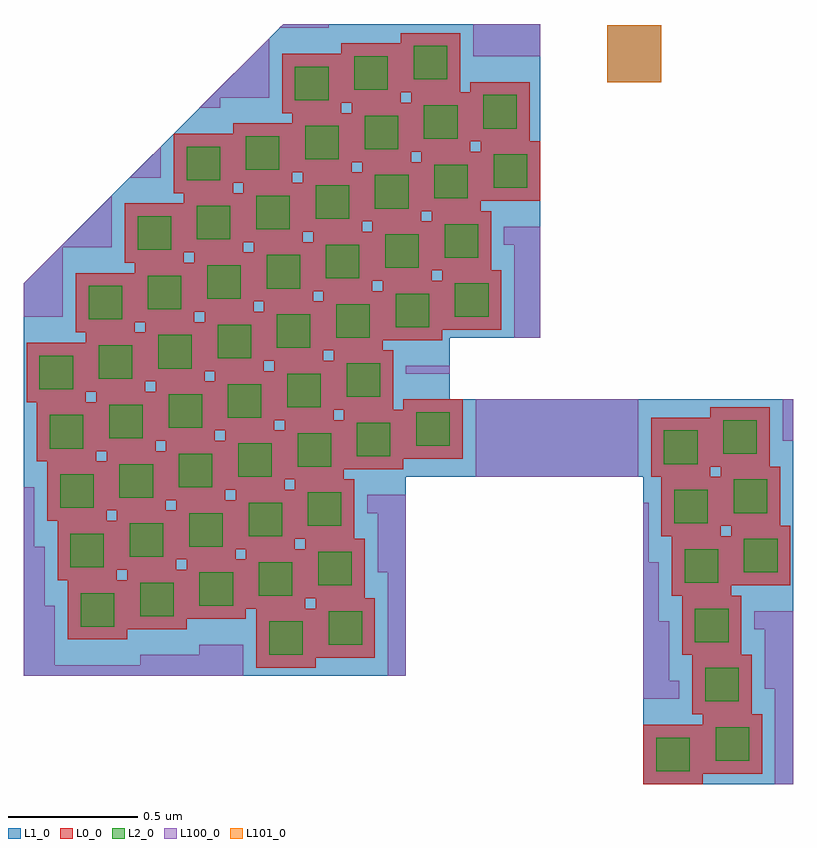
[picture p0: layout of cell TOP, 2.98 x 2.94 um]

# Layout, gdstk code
import gdstk
lib = gdstk.Library(unit=1e-6, precision=1e-09)
def R(c, l, rs):  # rectangles x0, y0, x1, y1
    for r in rs: c.add(gdstk.rectangle(r[:2], r[2:], *l))
def P(c, l, *ps):  # polygons
    for p in ps: c.add(gdstk.Polygon(p, *l))
L0_0 = (0, 0)
L1_0 = (1, 0)
L2_0 = (2, 0)
L100_0 = (100, 0)
L101_0 = (101, 0)

fill_cell = lib.new_cell('FILL_CELL')
R(fill_cell, L0_0, [(-0.1,-0.13,0.13,0.1)])
R(fill_cell, L2_0, [(-0.05,-0.08,0.08,0.05)])

top = lib.new_cell('TOP')
R(top, L1_0, [(1.76,1.79,1.97,2.01)])
P(top, L1_0, [(1.9,-0.93),(1.9,0.26),(0.98,0.26),(0.98,-0.51),(-0.5,-0.51),(-0.5,1.01),(0.505,2.015),(1.5,2.015),(1.5,0.8),(1.15,0.8),(1.15,0.56),(2.48,0.56),(2.48,-0.93)])
R(top, L100_0, [(1.25,0.26,1.88,0.56), (2.44,0.4,2.48,0.56), (0.98,0.66,1.15,0.69), (1.24,1.89,1.5,2.015)])
P(top, L100_0, [(2.41,-0.93),(2.41,-0.56),(2.37,-0.56),(2.37,-0.33),(2.33,-0.33),(2.33,-0.26),(2.48,-0.26),(2.48,-0.93)],
  [(1.9,-0.6),(1.9,0.16),(1.92,0.16),(1.92,-0.07),(1.96,-0.07),(1.96,-0.3),(2,-0.3),(2,-0.53),(2.04,-0.53),(2.04,-0.6)],
  [(0.91,-0.51),(0.91,-0.11),(0.87,-0.11),(0.87,0.12),(0.83,0.12),(0.83,0.19),(0.98,0.19),(0.98,-0.51)],
  [(-0.5,-0.51),(-0.5,0.22),(-0.46,0.22),(-0.46,-0.01),(-0.42,-0.01),(-0.42,-0.24),(-0.38,-0.24),(-0.38,-0.47),(-0.05,-0.47),(-0.05,-0.43),(0.18,-0.43),(0.18,-0.39),(0.35,-0.39),(0.35,-0.51)],
  [(1.4,0.8),(1.4,1.16),(1.36,1.16),(1.36,1.23),(1.5,1.23),(1.5,0.8)],
  [(-0.5,0.88),(-0.5,1.01),(-0.16,1.35),(-0.16,1.15),(-0.35,1.15),(-0.35,0.88)],
  [(-0.09,1.42),(0.03,1.54),(0.03,1.42)],
  [(0.18,1.69),(0.45,1.96),(0.45,1.73),(0.26,1.73),(0.26,1.69)],
  [(0.49,2),(0.505,2.015),(0.68,2.015),(0.68,2)])
R(top, L101_0, [(1.76,1.79,1.97,2.01)])
top.add(gdstk.Reference(fill_cell, (2,-0.8)))
top.add(gdstk.Reference(fill_cell, (2.23,-0.76)))
top.add(gdstk.Reference(fill_cell, (-0.23,-0.24)))
top.add(gdstk.Reference(fill_cell, (0,-0.2)))
top.add(gdstk.Reference(fill_cell, (0.23,-0.16)))
top.add(gdstk.Reference(fill_cell, (0.46,-0.12)))
top.add(gdstk.Reference(fill_cell, (0.69,-0.08)))
top.add(gdstk.Reference(fill_cell, (2.19,-0.53)))
top.add(gdstk.Reference(fill_cell, (-0.27,-0.01)))
top.add(gdstk.Reference(fill_cell, (-0.04,0.03)))
top.add(gdstk.Reference(fill_cell, (0.19,0.07)))
top.add(gdstk.Reference(fill_cell, (0.42,0.11)))
top.add(gdstk.Reference(fill_cell, (0.65,0.15)))
top.add(gdstk.Reference(fill_cell, (2.15,-0.3)))
top.add(gdstk.Reference(fill_cell, (-0.31,0.22)))
top.add(gdstk.Reference(fill_cell, (-0.08,0.26)))
top.add(gdstk.Reference(fill_cell, (0.15,0.3)))
top.add(gdstk.Reference(fill_cell, (0.38,0.34)))
top.add(gdstk.Reference(fill_cell, (0.61,0.38)))
top.add(gdstk.Reference(fill_cell, (0.84,0.42)))
top.add(gdstk.Reference(fill_cell, (1.07,0.46)))
top.add(gdstk.Reference(fill_cell, (2.11,-0.07)))
top.add(gdstk.Reference(fill_cell, (2.34,-0.03)))
top.add(gdstk.Reference(fill_cell, (-0.35,0.45)))
top.add(gdstk.Reference(fill_cell, (-0.12,0.49)))
top.add(gdstk.Reference(fill_cell, (0.11,0.53)))
top.add(gdstk.Reference(fill_cell, (0.34,0.57)))
top.add(gdstk.Reference(fill_cell, (0.57,0.61)))
top.add(gdstk.Reference(fill_cell, (0.8,0.65)))
top.add(gdstk.Reference(fill_cell, (2.07,0.16)))
top.add(gdstk.Reference(fill_cell, (2.3,0.2)))
top.add(gdstk.Reference(fill_cell, (-0.39,0.68)))
top.add(gdstk.Reference(fill_cell, (-0.16,0.72)))
top.add(gdstk.Reference(fill_cell, (0.07,0.76)))
top.add(gdstk.Reference(fill_cell, (0.3,0.8)))
top.add(gdstk.Reference(fill_cell, (0.53,0.84)))
top.add(gdstk.Reference(fill_cell, (0.76,0.88)))
top.add(gdstk.Reference(fill_cell, (0.99,0.92)))
top.add(gdstk.Reference(fill_cell, (1.22,0.96)))
top.add(gdstk.Reference(fill_cell, (2.03,0.39)))
top.add(gdstk.Reference(fill_cell, (2.26,0.43)))
top.add(gdstk.Reference(fill_cell, (-0.2,0.95)))
top.add(gdstk.Reference(fill_cell, (0.03,0.99)))
top.add(gdstk.Reference(fill_cell, (0.26,1.03)))
top.add(gdstk.Reference(fill_cell, (0.49,1.07)))
top.add(gdstk.Reference(fill_cell, (0.72,1.11)))
top.add(gdstk.Reference(fill_cell, (0.95,1.15)))
top.add(gdstk.Reference(fill_cell, (1.18,1.19)))
top.add(gdstk.Reference(fill_cell, (-0.01,1.22)))
top.add(gdstk.Reference(fill_cell, (0.22,1.26)))
top.add(gdstk.Reference(fill_cell, (0.45,1.3)))
top.add(gdstk.Reference(fill_cell, (0.68,1.34)))
top.add(gdstk.Reference(fill_cell, (0.91,1.38)))
top.add(gdstk.Reference(fill_cell, (1.14,1.42)))
top.add(gdstk.Reference(fill_cell, (1.37,1.46)))
top.add(gdstk.Reference(fill_cell, (0.18,1.49)))
top.add(gdstk.Reference(fill_cell, (0.41,1.53)))
top.add(gdstk.Reference(fill_cell, (0.64,1.57)))
top.add(gdstk.Reference(fill_cell, (0.87,1.61)))
top.add(gdstk.Reference(fill_cell, (1.1,1.65)))
top.add(gdstk.Reference(fill_cell, (1.33,1.69)))
top.add(gdstk.Reference(fill_cell, (0.6,1.8)))
top.add(gdstk.Reference(fill_cell, (0.83,1.84)))
top.add(gdstk.Reference(fill_cell, (1.06,1.88)))
top.add(gdstk.Reference(fill_cell, (0.5,-0.35)))
top.add(gdstk.Reference(fill_cell, (0.73,-0.31)))

lib.write_gds('TOP.gds')
